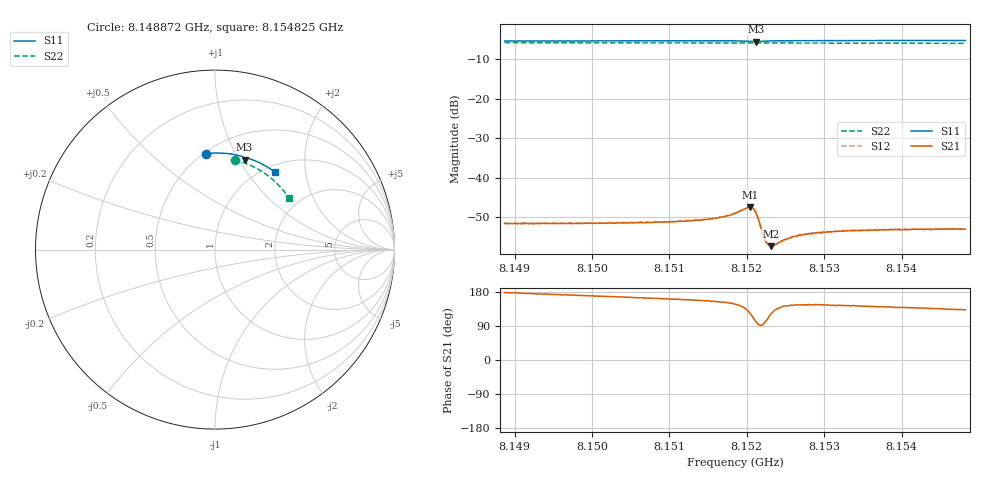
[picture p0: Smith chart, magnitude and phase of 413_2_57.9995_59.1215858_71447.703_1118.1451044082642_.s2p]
#  HZ  S  RI  R  50.00
! Rohde & Schwarz Vector Network Analyzer
! Rohde-Schwarz,ZNB20-2Port,1311601062101988,3.16
! Created: UTC 3/21/2024, 1:08:49 AM
! freq[Hz]  re:S11  im:S11  re:S21  im:S21  re:S12  im:S12  re:S22  im:S22
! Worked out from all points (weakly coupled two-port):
!   401 points, 8.148872 GHz to 8.154825 GHz, reference 50 ohm
!   highest |S21| = -47.43 dB at 8.152042 GHz (marker M1); lowest = -57.3 dB at 8.15231 GHz (marker M2)
!   lowest |S11| = -5.5 dB at 8.152116 GHz (marker M3), VSWR 3.24, Z = 38 + j52.8 ohm
!   |S11| at or under -10 dB: nowhere
!   |S22| runs from -6.0 to -5.8 dB; largest |S21 - S12| = 0.00011
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8.148872e9  -0.0527 0.534  -0.00263 9.73e-05  -0.00267 0.000156  0.1092 0.4993
8.1498691e9  0.0166 0.5382  -0.00259 0.00044  -0.00264 0.000504  0.1707 0.4804
8.1508662e9  0.086 0.5331  -0.00262 0.000809  -0.00261 0.000875  0.229 0.4539
8.1514169e9  0.1243 0.5261  -0.00269 0.00113  -0.00269 0.00118  0.2595 0.4364
8.1516997e9  0.1446 0.521  -0.00284 0.00148  -0.00285 0.00155  0.2746 0.4264
8.1518485e9  0.1557 0.5166  -0.00298 0.00191  -0.00296 0.00194  0.2823 0.4209
8.1519973e9  0.166 0.5088  -0.00283 0.00299  -0.00279 0.00309  0.29 0.4152
8.152042e9  0.1673 0.5051  -0.00236 0.00354  -0.00232 0.00359  0.2923 0.4135
8.1520866e9  0.1662 0.5021  -0.00142 0.00379  -0.00141 0.00384  0.2942 0.4117
8.1521164e9  0.1646 0.5019  -0.000744 0.00358  -0.000686 0.00363  0.2956 0.4106
8.1521462e9  0.1638 0.5034  -0.000258 0.00305  -0.000189 0.00311  0.2972 0.4097
8.1522057e9  0.1661 0.5071  -9.97e-05 0.002  -7.24e-05 0.00202  0.3001 0.4076
8.1522354e9  0.1683 0.5084  -0.000277 0.00161  -0.000226 0.00163  0.3015 0.4064
8.1522652e9  0.1709 0.509  -0.000411 0.00139  -0.000416 0.00139  0.303 0.4054
8.1523099e9  0.1749 0.5094  -0.000705 0.00116  -0.000666 0.0012  0.3054 0.4036
8.1523545e9  0.1787 0.5091  -0.000932 0.00109  -0.000911 0.00111  0.3077 0.4019
8.1524736e9  0.1882 0.5074  -0.00127 0.000995  -0.00125 0.00102  0.3137 0.3971
8.1525926e9  0.1968 0.5048  -0.00145 0.00104  -0.00146 0.00106  0.3193 0.3922
8.1528456e9  0.2142 0.4986  -0.00161 0.00109  -0.00163 0.00119  0.3315 0.3816
8.1532326e9  0.2393 0.4879  -0.00172 0.00124  -0.00172 0.00127  0.349 0.3648
8.1538428e9  0.2772 0.4686  -0.00167 0.0014  -0.0017 0.00143  0.375 0.3364
8.154825e9  0.3341 0.4316  -0.0015 0.00166  -0.00151 0.00167  0.4119 0.287
